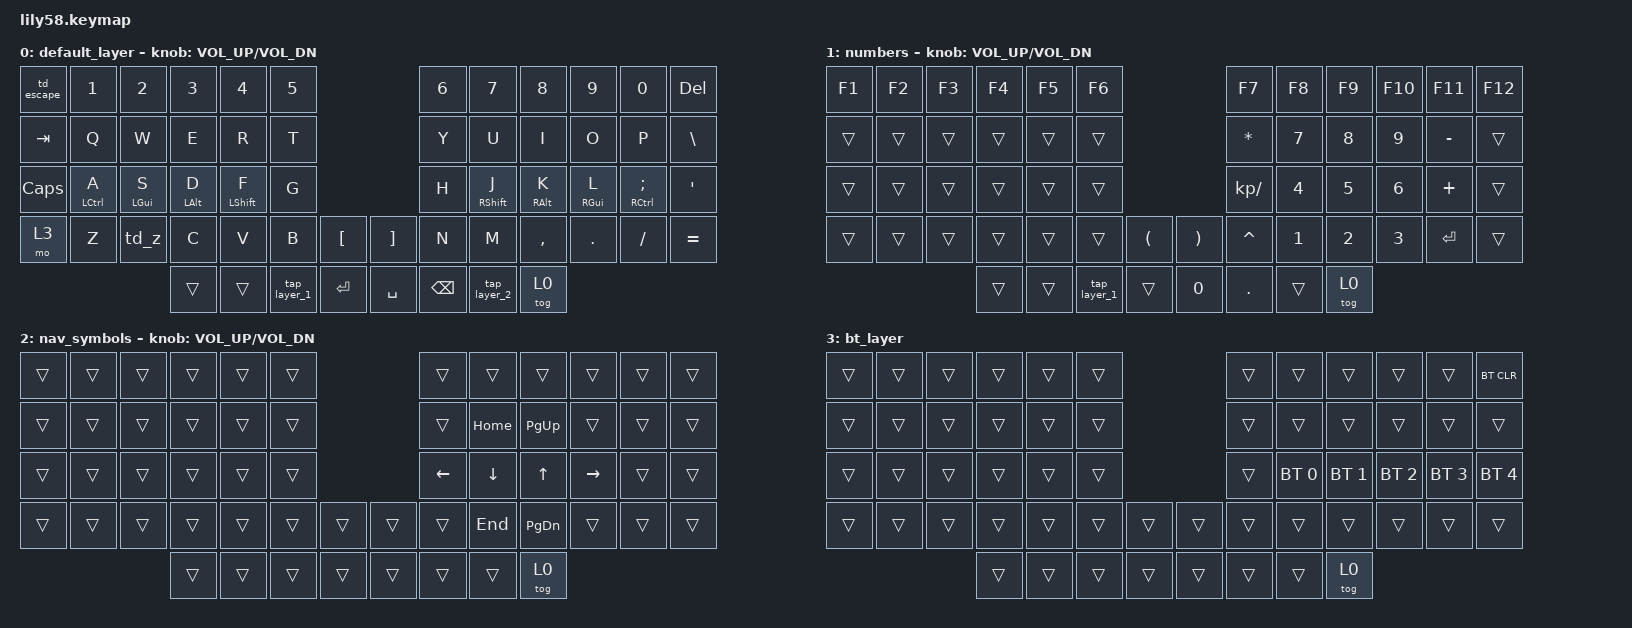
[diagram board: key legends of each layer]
/*
 * Copyright (c) 2020 The ZMK Contributors
 *
 * SPDX-License-Identifier: MIT
 */

#include <behaviors.dtsi>
#include <dt-bindings/zmk/bt.h>
#include <dt-bindings/zmk/keys.h>
#include <dt-bindings/zmk/mouse.h>

&mt {
    flavor = "tap-preferred";
    tapping-term-ms = <150>;
    quick-tap-ms = <0>;
};

/ {
    behaviors {
        tap_layer_2: tap_layer_2 {
            compatible = "zmk,behavior-tap-dance";
            label = "TAP_LAYER_2";
            #binding-cells = <0>;
            bindings = <&sl 2>, <&tog 2>;
        };

        tap_layer_1: tap_layer_1 {
            compatible = "zmk,behavior-tap-dance";
            label = "TAP_LAYER_1";
            #binding-cells = <0>;
            bindings = <&sl 1>, <&tog 1>;
        };

        tap_dance_tab: tap_dance_tab {
            compatible = "zmk,behavior-tap-dance";
            label = "TAP_DANCE_TAB";
            #binding-cells = <0>;
            bindings = <&kp TAB>, <&kp RA(TAB)>;
        };

        td_escape: td_escape {
            compatible = "zmk,behavior-tap-dance";
            label = "TD_ESCAPE";
            #binding-cells = <0>;
            bindings = <&kp GRAVE>, <&kp ESCAPE>;
        };

        td_z: td_z {
            compatible = "zmk,behavior-tap-dance";
            label = "TD_Z";
            #binding-cells = <0>;
            bindings = <&kp X>, <&kp Z>;
        };

        hm: hm {
            compatible = "zmk,behavior-hold-tap";
            label = "HM";
            bindings = <&kp>, <&kp>;

            #binding-cells = <2>;
            tapping-term-ms = <200>;
            flavor = "balanced";
            quick-tap-ms = <0>;
        };
    };

    keymap {
        compatible = "zmk,keymap";

        default_layer {
            // ------------------------------------------------------------------------------------------------------------
            // |  ESC  |  1  |  2  |  3   |  4   |  5   |                   |  6   |  7    |  8    |  9   |   0   |   `   |
            // |  TAB  |  Q  |  W  |  E   |  R   |  T   |                   |  Y   |  U    |  I    |  O   |   P   |   -   |
            // |  CTRL |  A  |  S  |  D   |  F   |  G   |                   |  H   |  J    |  K    |  L   |   ;   |   '   |
            // | SHIFT |  Z  |  X  |  C   |  V   |  B   |   "["  |  |  "]"  |  N   |  M    |  ,    |  .   |   /   | SHIFT |
            //                     | ALT  | GUI  | LOWER|  SPACE |  | ENTER | RAISE| BSPC  | GUI   |

            bindings = <
&td_escape    &kp N1       &kp N2          &kp N3          &kp N4            &kp N5                                &kp N6         &kp N7             &kp N8           &kp N9           &kp N0                       &kp DELETE
&kp TAB       &kp Q        &kp W           &kp E           &kp R             &kp T                                 &kp Y          &kp U              &kp I            &kp O            &kp P                        &kp BACKSLASH
&kp CAPSLOCK  &hm LCTRL A  &hm LEFT_GUI S  &hm LEFT_ALT D  &hm LEFT_SHIFT F  &kp G                                 &kp H          &hm RIGHT_SHIFT J  &hm RIGHT_ALT K  &hm RIGHT_GUI L  &hm RIGHT_CONTROL SEMICOLON  &kp SQT
&mo 3         &kp Z        &td_z           &kp C           &kp V             &kp B         &kp LBKT     &kp RBKT   &kp N          &kp M              &kp COMMA        &kp DOT          &kp FSLH                     &kp EQUAL
                                           &trans          &trans            &tap_layer_1  &kp ENTER    &kp SPACE  &kp BACKSPACE  &tap_layer_2       &tog 0
            >;

            sensor-bindings = <&inc_dec_kp C_VOL_UP C_VOL_DN>;
        };

        numbers {
            // ------------------------------------------------------------------------------------------------------------
            // | BTCLR | BT1 | BT2 |  BT3 |  BT4 |  BT5 |                   |      |       |       |      |       |       |
            // |  F1   |  F2 |  F3 |  F4  |  F5  |  F6  |                   |  F7  |  F8   |  F9   |  F10 |  F11  |  F12  |
            // |   `   |  !  |  @  |  #   |  $   |  %   |                   |  ^   |  &    |  *    |  (   |   )   |   ~   |
            // |       |     |     |      |      |      |        |  |       |      |  _    |  +    |  {   |   }   |  "|"  |
            //                     |      |      |      |        |  |       |      |       |       |

            bindings = <
&kp F1  &kp F2  &kp F3  &kp F4  &kp F5  &kp F6                                                       &kp F7         &kp F8        &kp F9        &kp F10       &kp F11    &kp F12
&trans  &trans  &trans  &trans  &trans  &trans                                                       &kp STAR       &kp N7        &kp N8        &kp N9        &kp MINUS  &trans
&trans  &trans  &trans  &trans  &trans  &trans                                                       &kp KP_DIVIDE  &kp NUMBER_4  &kp N5        &kp N6        &kp PLUS   &trans
&trans  &trans  &trans  &trans  &trans  &trans        &kp LEFT_PARENTHESIS    &kp RIGHT_PARENTHESIS  &kp CARET      &kp NUMBER_1  &kp NUMBER_2  &kp NUMBER_3  &kp ENTER  &trans
                        &trans  &trans  &tap_layer_1  &trans                  &kp N0                 &kp PERIOD     &trans        &tog 0
            >;

            sensor-bindings = <&inc_dec_kp C_VOL_UP C_VOL_DN>;
        };

        nav_symbols {
            // ------------------------------------------------------------------------------------------------------------
            // |       |     |     |      |      |      |                   |      |       |       |      |       |       |
            // |   `   |  1  |  2  |  3   |  4   |  5   |                   |  6   |   7   |   8   |  9   |   0   |       |
            // |   F1  |  F2 |  F3 |  F4  |  F5  |  F6  |                   |      |   <-  |   v   |  ^   |  ->   |       |
            // |   F7  |  F8 |  F9 |  F10 |  F11 |  F12 |        |  |       |  +   |   -   |   =   |  [   |   ]   |   \   |
            //                     |      |      |      |        |  |       |      |       |       |

            bindings = <
&trans  &trans  &trans  &trans  &trans  &trans                    &trans    &trans    &trans         &trans     &trans  &trans
&trans  &trans  &trans  &trans  &trans  &trans                    &trans    &kp HOME  &kp PAGE_UP    &trans     &trans  &trans
&trans  &trans  &trans  &trans  &trans  &trans                    &kp LEFT  &kp DOWN  &kp UP_ARROW   &kp RIGHT  &trans  &trans
&trans  &trans  &trans  &trans  &trans  &trans  &trans    &trans  &trans    &kp END   &kp PAGE_DOWN  &trans     &trans  &trans
                        &trans  &trans  &trans  &trans    &trans  &trans    &trans    &tog 0
            >;

            sensor-bindings = <&inc_dec_kp C_VOL_UP C_VOL_DN>;
        };

        bt_layer {
            bindings = <
&trans  &trans  &trans  &trans  &trans  &trans                    &trans  &trans        &trans        &trans        &trans        &bt BT_CLR
&trans  &trans  &trans  &trans  &trans  &trans                    &trans  &trans        &trans        &trans        &trans        &trans
&trans  &trans  &trans  &trans  &trans  &trans                    &trans  &bt BT_SEL 0  &bt BT_SEL 1  &bt BT_SEL 2  &bt BT_SEL 3  &bt BT_SEL 4
&trans  &trans  &trans  &trans  &trans  &trans  &trans    &trans  &trans  &trans        &trans        &trans        &trans        &trans
                        &trans  &trans  &trans  &trans    &trans  &trans  &trans        &tog 0
            >;
        };
    };
};
